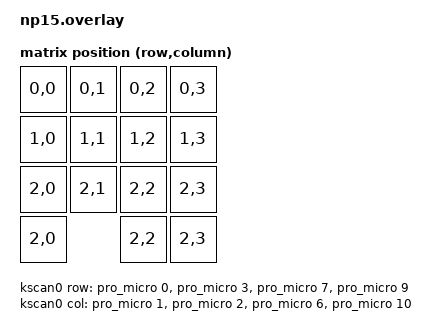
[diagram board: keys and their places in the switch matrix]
#include <dt-bindings/zmk/matrix_transform.h>

/ {
    chosen {
        zmk,kscan = &kscan0;
        zmk,matrix_transform = &default_transform;
        // Other chosen items
    };

    default_transform: keymap_transform0 {
        compatible = "zmk,matrix-transform";
        columns = <4>; // Length of the "col-gpios" array
        rows = <4>; // Length of the "row-gpios" array
        map = <
            RC(0,0) RC(0,1) RC(0,2) RC(0,3)
            RC(1,0) RC(1,1) RC(1,2) RC(1,3)
            RC(2,0) RC(2,1) RC(2,2) RC(2,3)
            RC(2,0)         RC(2,2) RC(2,3)
        >;
    };

    kscan0: kscan0 {
        compatible = "zmk,kscan-gpio-matrix";
        diode-direction = "col2row";
        wakeup-source;

        col-gpios = <&pro_micro 1 GPIO_ACTIVE_HIGH>,
                    <&pro_micro 2 GPIO_ACTIVE_HIGH>,
                    <&pro_micro 6 GPIO_ACTIVE_HIGH>,
                    <&pro_micro 10 GPIO_ACTIVE_HIGH>;

        row-gpios = <&pro_micro 0 (GPIO_ACTIVE_HIGH | GPIO_PULL_DOWN)>,
                    <&pro_micro 3 (GPIO_ACTIVE_HIGH | GPIO_PULL_DOWN)>,
                    <&pro_micro 7 (GPIO_ACTIVE_HIGH | GPIO_PULL_DOWN)>,
                    <&pro_micro 9 (GPIO_ACTIVE_HIGH | GPIO_PULL_DOWN)>;
    };
};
